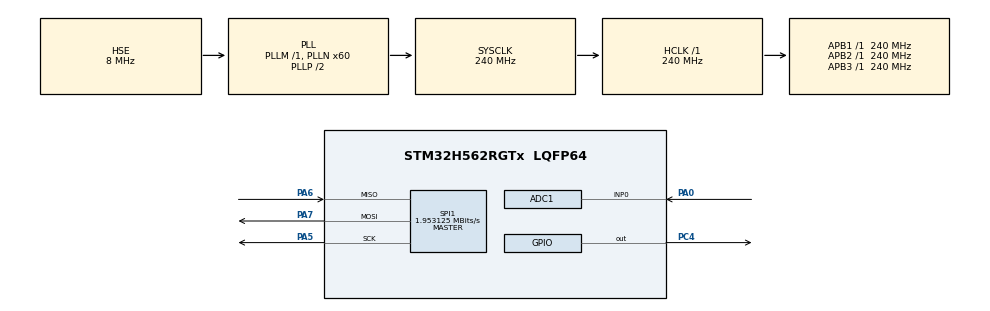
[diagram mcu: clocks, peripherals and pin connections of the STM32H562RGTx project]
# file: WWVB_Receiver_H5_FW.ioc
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ADC1.Channel-1\#ChannelRegularConversion=ADC_CHANNEL_0
ADC1.ExternalTrigConv=ADC_EXTERNALTRIG_T3_TRGO
ADC1.MonitoredBy-1\#ChannelRegularConversion=__NULL
ADC1.NbrOfConversionFlag=1
ADC1.OffsetNumber-1\#ChannelRegularConversion=ADC_OFFSET_NONE
ADC1.Rank-1\#ChannelRegularConversion=1
ADC1.SamplingTime-1\#ChannelRegularConversion=ADC_SAMPLETIME_6CYCLES_5
ADC1.master=1
CORTEX_M33_NS.Number-Cortex_Memory_Protection_Unit_Region0_OTP_RO_AREAS_Settings=MPU_REGION_NUMBER0
CORTEX_M33_NS.default_mode_Activation=1
CORTEX_M33_NS.userName=CORTEX_M33
GPDMA1.DESTDATAWIDTH_GPDMACH0=DMA_DEST_DATAWIDTH_HALFWORD
GPDMA1.DESTINC_GPDMACH0=DMA_DINC_INCREMENTED
GPDMA1.IPHANDLE_GPDMACH0-SIMPLEREQUEST_GPDMACH0=__NULL
GPDMA1.PRIORITY_GPDMACH0=DMA_LOW_PRIORITY_HIGH_WEIGHT
GPDMA1.RECAP_GPDMACH0=DMA_REQUEST_ADC1
GPDMA1.REQUEST_GPDMACH0=GPDMA1_REQUEST_ADC1
GPDMA1.SRCDATAWIDTH_GPDMACH0=DMA_SRC_DATAWIDTH_HALFWORD
GPDMA1.TRANSFERALLOCATEDPORTDEST_GPDMACH0=DMA_DEST_ALLOCATED_PORT0
GPDMA1.TRIGGERPOLARITY_GPDMACH0=DMA_TRIG_POLARITY_MASKED
Mcu.Family=STM32H5
Mcu.Name=STM32H562RGTx
Mcu.Package=LQFP64
NVIC.ADC1_IRQn=true\:0\:0\:false\:false\:true\:true\:true\:true
NVIC.GPDMA1_Channel0_IRQn=true\:0\:0\:false\:false\:true\:false\:true\:true
NVIC.PriorityGroup=NVIC_PRIORITYGROUP_4
PA0.Signal=ADCx_INP0
PA13(JTMS/SWDIO).Mode=Serial_Wire
PA13(JTMS/SWDIO).Signal=DEBUG_JTMS-SWDIO
PA14(JTCK/SWCLK).Mode=Serial_Wire
PA14(JTCK/SWCLK).Signal=DEBUG_JTCK-SWCLK
PA5.Mode=Full_Duplex_Master
PA5.Signal=SPI1_SCK
PA6.Mode=Full_Duplex_Master
PA6.Signal=SPI1_MISO
PA7.Mode=Full_Duplex_Master
PA7.Signal=SPI1_MOSI
PC14-OSC32_IN(OSC32_IN).Mode=LSE-External-Oscillator
PC14-OSC32_IN(OSC32_IN).Signal=RCC_OSC32_IN
PC15-OSC32_OUT(OSC32_OUT).Mode=LSE-External-Oscillator
PC15-OSC32_OUT(OSC32_OUT).Signal=RCC_OSC32_OUT
PC4.Signal=GPIO_Output
PH0-OSC_IN(PH0).Mode=HSE-External-Oscillator
PH0-OSC_IN(PH0).Signal=RCC_OSC_IN
PH1-OSC_OUT(PH1).Mode=HSE-External-Oscillator
PH1-OSC_OUT(PH1).Signal=RCC_OSC_OUT
ProjectManager.HeapSize=0x200
ProjectManager.StackSize=0x400
ProjectManager.TargetToolchain=Makefile
RCC.ADCFreq_Value=240000000
RCC.AHBFreq_Value=240000000
RCC.APB1Freq_Value=240000000
RCC.APB1TimFreq_Value=240000000
RCC.APB2Freq_Value=240000000
RCC.APB2TimFreq_Value=240000000
RCC.APB3Freq_Value=240000000
RCC.CSI_VALUE=4000000
RCC.CortexFreq_Value=240000000
RCC.EPOD_VALUE=8000000
RCC.HCLKFreq_Value=240000000
RCC.HSE_VALUE=8000000
RCC.HSI48_VALUE=48000000
RCC.HSI_VALUE=64000000
RCC.LSIRC_VALUE=32000
RCC.PLL1Q=3
RCC.PLL2FRACN=0
RCC.PLL2M=8
RCC.PLL2N=250
RCC.PLL2R=1
RCC.PLL2Source=RCC_PLL2_SOURCE_HSE
RCC.PLL3FRACN=0
RCC.PLL3Source=RCC_PLL3_SOURCE_HSE
RCC.PLLFRACN=0
RCC.PLLN=60
RCC.PLLSourceVirtual=RCC_PLL1_SOURCE_HSE
RCC.SPI1CLockSelection=RCC_SPI1CLKSOURCE_PLL2P
RCC.SYSCLKFreq_VALUE=240000000
RCC.SYSCLKSource=RCC_SYSCLKSOURCE_PLLCLK
RCC.USBFreq_Value=48000000
RCC.VCOOutputFreq_Value=480000000
SH.ADCx_INP0.0=ADC1_INP0,IN0-Single-Ended
SPI1.BaudRatePrescaler=SPI_BAUDRATEPRESCALER_64
SPI1.CalculateBaudRate=1.953125 MBits/s
SPI1.DataSize=SPI_DATASIZE_8BIT
SPI1.Direction=SPI_DIRECTION_2LINES
SPI1.Mode=SPI_MODE_MASTER
SPI1.VirtualType=VM_MASTER
TIM3.PeriodNoDither=499
VP_BOOTPATH_VS_BOOTPATH.Mode=BP_Activate
VP_CORTEX_M33_NS_VS_Hclk.Mode=Hclk_Mode
VP_GPDMA1_VS_GPDMACH0.Mode=SIMPLEREQUEST_GPDMACH0
VP_ICACHE_VS_ICACHE.Mode=DirectMappedCache
VP_MEMORYMAP_VS_MEMORYMAP.Mode=CurAppReg
VP_PWR_VS_LPOM.Mode=PowerOptimisation
VP_PWR_VS_SECSignals.Mode=Security/Privilege
VP_RTC_VS_RTC_Activate.Mode=RTC_Enabled
VP_RTC_VS_RTC_Calendar.Mode=RTC_Calendar
VP_TIM3_VS_ClockSourceINT.Mode=Internal
board=custom

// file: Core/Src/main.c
/* USER CODE BEGIN Header */
/**
  ******************************************************************************
  * @file           : main.c
  * @brief          : Main program body
  ******************************************************************************
  * @attention
  *
  * Copyright (c) 2026 STMicroelectronics.
  * All rights reserved.
  *
  * This software is licensed under terms that can be found in the LICENSE file
  * in the root directory of this software component.
  * If no LICENSE file comes with this software, it is provided AS-IS.
  *
  ******************************************************************************
  */
/* USER CODE END Header */
#include "main.h"
#include "adc.h"
#include "gpdma.h"
#include "icache.h"
#include "rtc.h"
#include "spi.h"
#include "tim.h"
#include "gpio.h"

/* USER CODE BEGIN Includes */

#include <stdbool.h>
#include "../../CMSIS-DSP/Include/arm_math.h"

/* USER CODE END Includes */

/* USER CODE BEGIN PD */

#define SAMPLE_BUF_SIZE   1024
#define WWVB_CARRIER_FREQ 60000
#define ADC_SAMPLE_RATE   480000
#define LO_ARR_SIZE       (ADC_SAMPLE_RATE/WWVB_CARRIER_FREQ)
#define SIG_MIDPT_NOM     2048

/* USER CODE END PD */

/* USER CODE BEGIN PV */
uint16_t buffer[2*SAMPLE_BUF_SIZE];
uint16_t* wr_buffer;
uint16_t* rd_buffer;
bool buffer_rdy = false;
int32_t signal_avg = 0;
int32_t signal_avg_acc = 0;
int32_t lo_i[] = {0, 1, 0, -1, 0, 1, 0, -1};
int32_t lo_q[] = {1, 0, -1, 0, 1, 0, -1, 0};
int lo_ind = 0;
int32_t mixer_i[SAMPLE_BUF_SIZE];
int32_t mixer_q[SAMPLE_BUF_SIZE];
int sample_ind = 0;

/* USER CODE END PV */

void SystemClock_Config(void);
static void MPU_Config(void);
/* USER CODE BEGIN PFP *

/* USER CODE END PFP */

int main(void)
{

  /* MCU Configuration--------------------------------------------------------*/

  /* MPU Configuration--------------------------------------------------------*/
  MPU_Config();

  /* Reset of all peripherals, Initializes the Flash interface and the Systick. */
  HAL_Init();

  /* Configure the system clock */
  SystemClock_Config();

  /* Initialize all configured peripherals */
  MX_GPIO_Init();
  MX_GPDMA1_Init();
  MX_ADC1_Init();
  MX_ICACHE_Init();
  MX_SPI1_Init();
  MX_RTC_Init();
  MX_TIM3_Init();
  /* USER CODE BEGIN 2 */

  HAL_ADC_Stop(&hadc1);
  HAL_ADCEx_Calibration_Start(&hadc1, ADC_SINGLE_ENDED);

  HAL_Delay(1);

  wr_buffer = buffer;
  rd_buffer = buffer + SAMPLE_BUF_SIZE;
  HAL_ADC_Start_DMA(&hadc1, wr_buffer, SAMPLE_BUF_SIZE);

  HAL_TIM_Base_Start(&htim3);

  /* USER CODE END 2 */

  /* Infinite loop */
  while (1)
  {

    /* USER CODE BEGIN 3 */
    if (buffer_rdy) {
      signal_avg_acc = 0;
      for (int i = 0; i < SAMPLE_BUF_SIZE; i++) {
        int32_t sample = rd_buffer[i] - SIG_MIDPT_NOM;
        signal_avg_acc += sample;
        sample -= signal_avg;

        mixer_i[i] = lo_i[lo_ind] * sample;
        mixer_q[i] = lo_q[lo_ind] * sample;
        lo_ind++;
        if (lo_ind >= LO_ARR_SIZE) {
          lo_ind = 0;
        }
      }
      signal_avg = (int32_t)((1.0*signal_avg_acc / SAMPLE_BUF_SIZE) + 0.5);
    }
  }
  /* USER CODE END 3 */
}

void SystemClock_Config(void)
{
  RCC_OscInitTypeDef RCC_OscInitStruct = {0};
  RCC_ClkInitTypeDef RCC_ClkInitStruct = {0};

  /** Configure the main internal regulator output voltage
  */
  __HAL_PWR_VOLTAGESCALING_CONFIG(PWR_REGULATOR_VOLTAGE_SCALE0);

  while(!__HAL_PWR_GET_FLAG(PWR_FLAG_VOSRDY)) {}

  /** Initializes the RCC Oscillators according to the specified parameters
  * in the RCC_OscInitTypeDef structure.
  */
  RCC_OscInitStruct.OscillatorType = RCC_OSCILLATORTYPE_LSI|RCC_OSCILLATORTYPE_HSE;
  RCC_OscInitStruct.HSEState = RCC_HSE_ON;
  RCC_OscInitStruct.LSIState = RCC_LSI_ON;
  RCC_OscInitStruct.PLL.PLLState = RCC_PLL_ON;
  RCC_OscInitStruct.PLL.PLLSource = RCC_PLL1_SOURCE_HSE;
  RCC_OscInitStruct.PLL.PLLM = 1;
  RCC_OscInitStruct.PLL.PLLN = 60;
  RCC_OscInitStruct.PLL.PLLP = 2;
  RCC_OscInitStruct.PLL.PLLQ = 3;
  RCC_OscInitStruct.PLL.PLLR = 2;
  RCC_OscInitStruct.PLL.PLLRGE = RCC_PLL1_VCIRANGE_3;
  RCC_OscInitStruct.PLL.PLLVCOSEL = RCC_PLL1_VCORANGE_WIDE;
  RCC_OscInitStruct.PLL.PLLFRACN = 0;
  if (HAL_RCC_OscConfig(&RCC_OscInitStruct) != HAL_OK)
  {
    Error_Handler();
  }

  /** Initializes the CPU, AHB and APB buses clocks
  */
  RCC_ClkInitStruct.ClockType = RCC_CLOCKTYPE_HCLK|RCC_CLOCKTYPE_SYSCLK
                              |RCC_CLOCKTYPE_PCLK1|RCC_CLOCKTYPE_PCLK2
                              |RCC_CLOCKTYPE_PCLK3;
  RCC_ClkInitStruct.SYSCLKSource = RCC_SYSCLKSOURCE_PLLCLK;
  RCC_ClkInitStruct.AHBCLKDivider = RCC_SYSCLK_DIV1;
  RCC_ClkInitStruct.APB1CLKDivider = RCC_HCLK_DIV1;
  RCC_ClkInitStruct.APB2CLKDivider = RCC_HCLK_DIV1;
  RCC_ClkInitStruct.APB3CLKDivider = RCC_HCLK_DIV1;

  if (HAL_RCC_ClockConfig(&RCC_ClkInitStruct, FLASH_LATENCY_5) != HAL_OK)
  {
    Error_Handler();
  }

  /** Configure the programming delay
  */
  __HAL_FLASH_SET_PROGRAM_DELAY(FLASH_PROGRAMMING_DELAY_2);
}

/* USER CODE BEGIN 4 */

/**
 * Definition of ADC Conversion Complete callback
 */
void HAL_ADC_ConvCpltCallback(ADC_HandleTypeDef *hadc) {
  uint16_t* temp = rd_buffer;
  rd_buffer = wr_buffer;
  wr_buffer = rd_buffer;
  buffer_rdy = true;
  HAL_ADC_Start_DMA(&hadc1, wr_buffer, SAMPLE_BUF_SIZE);
}

/* USER CODE END 4 */

 /* MPU Configuration */

void MPU_Config(void)
{
  MPU_Region_InitTypeDef MPU_InitStruct = {0};
  MPU_Attributes_InitTypeDef MPU_AttributesInit = {0};

  /* Disables the MPU */
  HAL_MPU_Disable();

  /** Initializes and configures the Region 0 and the memory to be protected
  */
  MPU_InitStruct.Enable = MPU_REGION_ENABLE;
  MPU_InitStruct.Number = MPU_REGION_NUMBER0;
  MPU_InitStruct.BaseAddress = 0x08FFF000;
  MPU_InitStruct.LimitAddress = 0x08FFFFFF;
  MPU_InitStruct.AttributesIndex = MPU_ATTRIBUTES_NUMBER0;
  MPU_InitStruct.AccessPermission = MPU_REGION_ALL_RO;
  MPU_InitStruct.DisableExec = MPU_INSTRUCTION_ACCESS_DISABLE;
  MPU_InitStruct.IsShareable = MPU_ACCESS_NOT_SHAREABLE;

  HAL_MPU_ConfigRegion(&MPU_InitStruct);

  /** Initializes and configures the Attribute 0 and the memory to be protected
  */
  MPU_AttributesInit.Number = MPU_ATTRIBUTES_NUMBER0;
  MPU_AttributesInit.Attributes = INNER_OUTER(MPU_NOT_CACHEABLE);

  HAL_MPU_ConfigMemoryAttributes(&MPU_AttributesInit);
  /* Enables the MPU */
  HAL_MPU_Enable(MPU_PRIVILEGED_DEFAULT);

}

void Error_Handler(void)
{
  __disable_irq();
  while (1)
  {
  }
}
